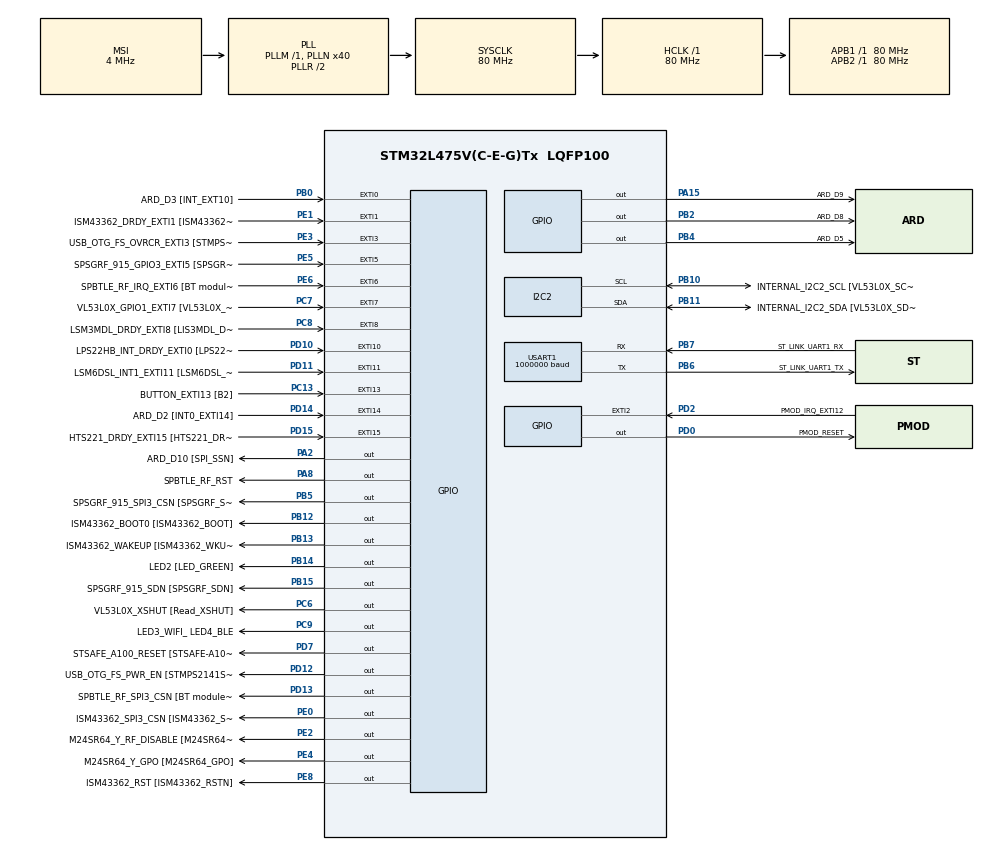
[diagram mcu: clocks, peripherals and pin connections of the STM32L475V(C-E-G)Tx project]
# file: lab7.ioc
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I2C2.Timing=0x10D19CE4
Mcu.Family=STM32L4
Mcu.Name=STM32L475V(C-E-G)Tx
Mcu.Package=LQFP100
NVIC.EXTI15_10_IRQn=true\:0\:0\:false\:false\:true\:true\:true\:true
NVIC.EXTI9_5_IRQn=true\:0\:0\:false\:false\:true\:true\:true\:true
NVIC.PriorityGroup=NVIC_PRIORITYGROUP_4
PA0.GPIO_Label=ARD_D1 [UART4_TX]
PA0.Signal=UART4_TX
PA1.GPIO_Label=ARD_D0 [UART4_RX]
PA1.Signal=UART4_RX
PA10.GPIO_Label=USB_OTG_FS_ID
PA10.Signal=USB_OTG_FS_ID
PA11.GPIO_Label=USB_OTG_FS_DM
PA11.Signal=USB_OTG_FS_DM
PA12.GPIO_Label=USB_OTG_FS_DP
PA12.Signal=USB_OTG_FS_DP
PA13\ (JTMS-SWDIO).GPIO_Label=SYS_JTMS_SWDIO
PA13\ (JTMS-SWDIO).Signal=SYS_JTMS-SWDIO
PA14\ (JTCK-SWCLK).GPIO_Label=SYS_JTCK_SWCLK
PA14\ (JTCK-SWCLK).Signal=SYS_JTCK-SWCLK
PA15\ (JTDI).GPIO_Label=ARD_D9
PA15\ (JTDI).Signal=GPIO_Output
PA2.GPIO_Label=ARD_D10 [SPI_SSN]
PA2.Signal=GPIO_Output
PA3.GPIO_Label=ARD_D4
PA3.Signal=S_TIM2_CH4
PA4.GPIO_Label=ARD_D7
PA4.Signal=ADCx_IN9
PA5.GPIO_Label=ARD_D13 [SPI1_SCK]
PA5.Signal=SPI1_SCK
PA6.GPIO_Label=ARD_D12 [SPI1_MISO]
PA6.Signal=SPI1_MISO
PA7.GPIO_Label=ARD_D11 [SPI1_MOSI]
PA7.Signal=SPI1_MOSI
PA8.GPIO_Label=SPBTLE_RF_RST
PA8.Signal=GPIO_Output
PA9.GPIO_Label=USB_OTG_FS_VBUS [STMPS2141STR_OUT]
PA9.Signal=USB_OTG_FS_VBUS
PB0.GPIO_Label=ARD_D3 [INT_EXT10]
PB0.Signal=GPXTI0
PB1.GPIO_Label=ARD_D6 [ADC1_IN6]
PB1.Signal=ADCx_IN16
PB10.GPIO_Label=INTERNAL_I2C2_SCL [VL53L0X_SCL]
PB10.Mode=I2C
PB10.Signal=I2C2_SCL
PB11.GPIO_Label=INTERNAL_I2C2_SDA [VL53L0X_SDA]
PB11.Mode=I2C
PB11.Signal=I2C2_SDA
PB12.GPIO_Label=ISM43362_BOOT0 [ISM43362_BOOT]
PB12.Signal=GPIO_Output
PB13.GPIO_Label=ISM43362_WAKEUP [ISM43362_WKUP]
PB13.Signal=GPIO_Output
PB14.GPIO_Label=LED2 [LED_GREEN]
PB14.Signal=GPIO_Output
PB15.GPIO_Label=SPSGRF_915_SDN [SPSGRF_SDN]
PB15.Signal=GPIO_Output
PB2.GPIO_Label=ARD_D8
PB2.Signal=GPIO_Output
PB3\ (JTDO-TRACESWO).GPIO_Label=SYS_JTD0_SWO
PB3\ (JTDO-TRACESWO).Signal=SYS_JTDO-SWO
PB4\ (NJTRST).GPIO_Label=ARD_D5
PB4\ (NJTRST).Signal=GPIO_Output
PB5.GPIO_Label=SPSGRF_915_SPI3_CSN [SPSGRF_SPI_CS]
PB5.PinState=GPIO_PIN_SET
PB5.Signal=GPIO_Output
PB6.GPIO_Label=ST_LINK_UART1_TX
PB6.Mode=Asynchronous
PB6.Signal=USART1_TX
PB7.GPIO_Label=ST_LINK_UART1_RX
PB7.Mode=Asynchronous
PB7.Signal=USART1_RX
PB8.GPIO_Label=ARD_D15 [I2C1_SCL]
PB8.Signal=I2C1_SCL
PB9.GPIO_Label=ARD_D14 [I2C1_SDA]
PB9.Signal=I2C1_SDA
PC0.GPIO_Label=ARD_A5 [ADC]
PC0.Signal=ADCx_IN1
PC1.GPIO_Label=ARD_A4 [ADC]
PC1.Signal=ADCx_IN2
PC10.GPIO_Label=INTERNAL_SPI3_SCK [BT module_SPI_SCLK] [ISM43362_SCK]
PC10.Signal=SPI3_SCK
PC11.GPIO_Label=INTERNAL_SPI3_MISO [BT module_SPI_MISO] [ISM43362_MISO]
PC11.Signal=SPI3_MISO
PC12.GPIO_Label=INTERNAL_SPI3_MOSI [BT module_SPI_MOSI] [ISM43362_MOSI]
PC12.Signal=SPI3_MOSI
PC13.GPIO_Label=BUTTON_EXTI13 [B2]
PC13.GPIO_ModeDefaultEXTI=GPIO_MODE_IT_FALLING
PC13.Signal=GPXTI13
PC14-OSC32_IN\ (PC14).Signal=RCC_OSC32_IN
PC15-OSC32_OUT\ (PC15).Signal=RCC_OSC32_OUT
PC2.GPIO_Label=ARD_A3 [ADC]
PC2.Signal=ADCx_IN3
PC3.GPIO_Label=ARD_A2 [ADC]
PC3.Signal=ADCx_IN4
PC4.GPIO_Label=ARD_A1 [ADC]
PC4.Signal=ADCx_IN13
PC5.GPIO_Label=ARD_A0 [ADC]
PC5.Signal=ADCx_IN14
PC6.GPIO_Label=VL53L0X_XSHUT [Read_XSHUT]
PC6.Signal=GPIO_Output
PC7.GPIO_Label=VL53L0X_GPIO1_EXTI7 [VL53L0X_GPIO1]
PC7.Signal=GPXTI7
PC8.GPIO_Label=LSM3MDL_DRDY_EXTI8 [LIS3MDL_DRDY]
PC8.Signal=GPXTI8
PC9.GPIO_Label=LED3_WIFI_ LED4_BLE
PC9.Signal=GPIO_Output
PD0.GPIO_Label=PMOD_RESET
PD0.Signal=GPIO_Output
PD1.GPIO_Label=PMOD_SPI2_SCK
PD1.Signal=SPI2_SCK
PD10.GPIO_Label=LPS22HB_INT_DRDY_EXTI0 [LPS22HB_INT_DRDY] 
PD10.Signal=GPXTI10
PD11.GPIO_Label=LSM6DSL_INT1_EXTI11 [LSM6DSL_INT1]
PD11.Signal=GPXTI11
PD12.GPIO_Label=USB_OTG_FS_PWR_EN [STMPS2141STR_EN]
PD12.Signal=GPIO_Output
PD13.GPIO_Label=SPBTLE_RF_SPI3_CSN [BT module_SPI_CS]
PD13.PinState=GPIO_PIN_SET
PD13.Signal=GPIO_Output
PD14.GPIO_Label=ARD_D2 [INT0_EXTI14]
PD14.Signal=GPXTI14
PD15.GPIO_Label=HTS221_DRDY_EXTI15 [HTS221_DRDY]
PD15.Signal=GPXTI15
PD2.GPIO_Label=PMOD_IRQ_EXTI12
PD2.Signal=GPXTI2
PD3.GPIO_Label=PMOD_UART2_CTS
PD3.Signal=USART2_CTS
PD4.GPIO_Label=PMOD_UART2_RTS
PD4.Signal=USART2_RTS
PD5.GPIO_Label=PMOD_UART2_TX
PD5.Signal=USART2_TX
PD6.GPIO_Label=PMOD_UART2_RX
PD6.Signal=USART2_RX
PD7.GPIO_Label=STSAFE_A100_RESET [STSAFE-A100_RESET]
PD7.Signal=GPIO_Output
PD8.GPIO_Label=INTERNAL_UART3_TX [ISM43362_RX]
PD8.Signal=USART3_TX
PD9.GPIO_Label=INTERNAL_UART3_RX [ISM43362_TX]
PD9.Signal=USART3_RX
PE0.GPIO_Label=ISM43362_SPI3_CSN [ISM43362_SSN]
PE0.PinState=GPIO_PIN_SET
PE0.Signal=GPIO_Output
PE1.GPIO_Label=ISM43362_DRDY_EXTI1 [ISM43362_DATARDY]
PE1.Signal=GPXTI1
PE10.GPIO_Label=QUADSPI_CLK [MX25R6435F_SCLK]
PE10.Signal=QUADSPI_CLK
PE11.GPIO_Label=QUADSPI_NCS [MX25R6435F_SCLK]
PE11.Signal=QUADSPI_NCS
PE12.GPIO_Label=OQUADSPI_BK1_IO0 [MX25R6435F_IO0]
PE12.Signal=QUADSPI_BK1_IO0
PE13.GPIO_Label=QUADSPI_BK1_IO1 [MX25R6435F_IO1]
PE13.Signal=QUADSPI_BK1_IO1
PE14.GPIO_Label=QUAD_SPI_BK1_IO2 [MX25R6435F_IO2]
PE14.Signal=QUADSPI_BK1_IO2
PE15.GPIO_Label=QUAD_SPI_BK1_IO3 [MX25R6435F_IO3]
PE15.Signal=QUADSPI_BK1_IO3
PE2.GPIO_Label=M24SR64_Y_RF_DISABLE [M24SR64_RFDIS]
PE2.Signal=GPIO_Output
PE3.GPIO_Label=USB_OTG_FS_OVRCR_EXTI3 [STMPS2141STR_FAULT]
PE3.Signal=GPXTI3
PE4.GPIO_Label=M24SR64_Y_GPO [M24SR64_GPO]
PE4.Signal=GPIO_Output
PE5.GPIO_Label=SPSGRF_915_GPIO3_EXTI5 [SPSGRF_GPIO_3]
PE5.Signal=GPXTI5
PE6.GPIO_Label=SPBTLE_RF_IRQ_EXTI6 [BT module_SPI_IRQ]
PE6.Signal=GPXTI6
PE7.GPIO_Label=DFSDM1_DATIN2 [MP34DT01_DOUT]
PE7.Signal=S_DATAIN2DFSDM1
PE8.GPIO_Label=ISM43362_RST [ISM43362_RSTN]
PE8.Signal=GPIO_Output
PE9.GPIO_Label=DFSDM1_CKOUT [MP34DT01_CLK]
PE9.Signal=S_CKOUTDFSDM1
ProjectManager.HeapSize=0x200
ProjectManager.StackSize=0x400
ProjectManager.TargetToolchain=CMake
RCC.ADCFreq_Value=48000000
RCC.AHBFreq_Value=80000000
RCC.APB1Freq_Value=80000000
RCC.APB1TimFreq_Value=80000000
RCC.APB2Freq_Value=80000000
RCC.APB2TimFreq_Value=80000000
RCC.CortexFreq_Value=80000000
RCC.HCLKFreq_Value=80000000
RCC.HSE_VALUE=8000000
RCC.HSI_VALUE=16000000
RCC.LSE_VALUE=32768
RCC.MSI_VALUE=4000000
RCC.PLLN=40
RCC.PLLSAI1N=24
RCC.SYSCLKFreq_VALUE=80000000
RCC.SYSCLKSource=RCC_SYSCLKSOURCE_PLLCLK
RCC.USBFreq_Value=48000000
RCC.VCOOutputFreq_Value=160000000
SH.ADCx_IN1.0=ADC1_IN1
SH.ADCx_IN13.0=ADC1_IN13
SH.ADCx_IN14.0=ADC1_IN14
SH.ADCx_IN16.0=ADC1_IN16
SH.ADCx_IN2.0=ADC1_IN2
SH.ADCx_IN3.0=ADC1_IN3
SH.ADCx_IN4.0=ADC1_IN4
SH.ADCx_IN9.0=ADC1_IN9
SH.S_CKOUTDFSDM1.0=DFSDM1_CKOUT
SH.S_DATAIN2DFSDM1.0=DFSDM1_DATIN2
SH.S_TIM2_CH4.0=TIM2_CH4
USART1.BaudRate=1000000
USART1.VirtualMode-Asynchronous=VM_ASYNC
board=B-L475E-IOT01A1

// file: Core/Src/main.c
/* USER CODE BEGIN Header */
/**
  ******************************************************************************
  * @file           : main.c
  * @brief          : Main program body
  ******************************************************************************
  * @attention
  *
  * Copyright (c) 2026 STMicroelectronics.
  * All rights reserved.
  *
  * This software is licensed under terms that can be found in the LICENSE file
  * in the root directory of this software component.
  * If no LICENSE file comes with this software, it is provided AS-IS.
  *
  ******************************************************************************
  */
/* USER CODE END Header */
#include "main.h"

/* USER CODE BEGIN Includes */
#include "arm_math.h"
#include "stdio.h"
#include "math_helper.h"
#include "stm32l475e_iot01_accelero.h"
/* USER CODE END Includes */

/* USER CODE BEGIN PD */
#define TEST_LENGTH_SAMPLES  320
#define SNR_THRESHOLD_F32    140.0f
#define BLOCK_SIZE            32
#define NUM_TAPS              29
/* USER CODE END PD */

I2C_HandleTypeDef hi2c2;

UART_HandleTypeDef huart1;

/* USER CODE BEGIN PV */
/* -------------------------------------------------------------------
 * The input signal and reference output (computed with MATLAB)
 * are defined externally in arm_fir_lpf_data.c.
 * ------------------------------------------------------------------- */

extern float32_t testInput_f32_1kHz_15kHz[TEST_LENGTH_SAMPLES];
extern float32_t refOutput[TEST_LENGTH_SAMPLES];

/* -------------------------------------------------------------------
 * Declare Test output buffer
 * ------------------------------------------------------------------- */

static float32_t testOutput[TEST_LENGTH_SAMPLES];

/* -------------------------------------------------------------------
 * Declare State buffer of size (numTaps + blockSize - 1)
 * ------------------------------------------------------------------- */

static float32_t firStateF32[BLOCK_SIZE + NUM_TAPS - 1];

/* ----------------------------------------------------------------------
** FIR Coefficients buffer generated using fir1() MATLAB function.
** fir1(28, 6/24)
** ------------------------------------------------------------------- */

const float32_t firCoeffs32[NUM_TAPS] = {
  -0.0018225230f, -0.0015879294f, +0.0000000000f, +0.0036977508f, +0.0080754303f, +0.0085302217f, -0.0000000000f, -0.0173976984f,
  -0.0341458607f, -0.0333591565f, +0.0000000000f, +0.0676308395f, +0.1522061835f, +0.2229246956f, +0.2504960933f, +0.2229246956f,
  +0.1522061835f, +0.0676308395f, +0.0000000000f, -0.0333591565f, -0.0341458607f, -0.0173976984f, -0.0000000000f, +0.0085302217f,
  +0.0080754303f, +0.0036977508f, +0.0000000000f, -0.0015879294f, -0.0018225230f
};

/* ------------------------------------------------------------------
 * Global variables for FIR LPF Example
 * ------------------------------------------------------------------- */

uint32_t blockSize = BLOCK_SIZE;
uint32_t numBlocks = TEST_LENGTH_SAMPLES/BLOCK_SIZE;

float32_t  snr;

/* Low-pass FIR: 29 taps, cutoff 5 Hz, fs 50 Hz,
   Hamming window. Group delay = 14 samples = 280 ms. */
#define ACC_NUM_TAPS 29
const float32_t accCoeffs[ACC_NUM_TAPS] = {
  +0.0010663996f, +0.0021260857f, +0.0031593379f, +0.0030598462f, -0.0000000000f, -0.0070586601f, -0.0165185932f, -0.0232938560f,
  -0.0199795184f, +0.0000000000f, +0.0385745876f, +0.0905512328f, +0.1441009645f, +0.1844676144f, +0.1994891178f, +0.1844676144f,
  +0.1441009645f, +0.0905512328f, +0.0385745876f, +0.0000000000f, -0.0199795184f, -0.0232938560f, -0.0165185932f, -0.0070586601f,
  -0.0000000000f, +0.0030598462f, +0.0031593379f, +0.0021260857f, +0.0010663996f
};

#define ACC_BLOCK_SIZE 25
// an arm_fir_instance_f32
arm_fir_instance_f32 accFilter;
static float32_t accState[ACC_BLOCK_SIZE + ACC_NUM_TAPS - 1];
static float32_t accIn[ACC_BLOCK_SIZE];
static float32_t accOut[ACC_BLOCK_SIZE];
/* USER CODE END PV */

void SystemClock_Config(void);
static void MX_GPIO_Init(void);
static void MX_I2C2_Init(void);
static void MX_USART1_UART_Init(void);

/* USER CODE BEGIN 0 */
int __io_putchar(int ch)
{
  HAL_UART_Transmit(&huart1, (uint8_t *)&ch, 1, HAL_MAX_DELAY);
  return ch;
}
/* USER CODE END 0 */

int main(void)
{

  /* USER CODE BEGIN 1 */
  uint32_t i;
  arm_fir_instance_f32 S;
  arm_status status;
  float32_t  *inputF32, *outputF32;

  int16_t accel[3];
  /* USER CODE END 1 */

  /* MCU Configuration--------------------------------------------------------*/

  /* Reset of all peripherals, Initializes the Flash interface and the Systick. */
  HAL_Init();

  /* Configure the system clock */
  SystemClock_Config();

  /* Initialize all configured peripherals */
  MX_GPIO_Init();
  MX_I2C2_Init();
  MX_USART1_UART_Init();
  /* USER CODE BEGIN 2 */

  BSP_ACCELERO_Init();

  float32_t test1[1];
  float32_t test2[1];
  float32_t result[1];
  test1[0] = 1.0f;
  test2[0] = 2.75f;
  arm_add_f32(test1, test2, result, 1);
  printf("Result: %f\n", result[0]);
  // printf("Result: %d\n", (int)(result[0]*1000));

  /* Initialize input and output buffer pointers */
  inputF32 = &testInput_f32_1kHz_15kHz[0];
  outputF32 = &testOutput[0];

  /* Call FIR init function to initialize the instance structure. */
  arm_fir_init_f32(&S, NUM_TAPS, (float32_t *)&firCoeffs32[0], &firStateF32[0], blockSize);

  /* ----------------------------------------------------------------------
  ** Call the FIR process function for every blockSize samples
  ** ------------------------------------------------------------------- */

  for(i=0; i < numBlocks; i++)
  {
    arm_fir_f32(&S, inputF32 + (i * blockSize), outputF32 + (i * blockSize), blockSize);
  }

  /* ----------------------------------------------------------------------
  ** Compare the generated output against the reference output computed
  ** in MATLAB.
  ** ------------------------------------------------------------------- */

  snr = arm_snr_f32(&refOutput[0], &testOutput[0], TEST_LENGTH_SAMPLES);

  if (snr < SNR_THRESHOLD_F32)
  {
    status = ARM_MATH_TEST_FAILURE;
  }
  else
  {
    status = ARM_MATH_SUCCESS;
  }

  printf("SNR: %f\n", snr);
  printf("Status: %s\n", (status == ARM_MATH_SUCCESS) ? "Success" : "Failure");
  /*
  BEGIN FIR
  0,<input>,<output>
  1,<input>,<output>
  ...  (all 320 samples)
  END FIR
  */
  printf("BEGIN FIR\n");
  for(i=0; i < TEST_LENGTH_SAMPLES; i++)
  {
    printf("%lu,%f,%f\n", i, inputF32[i], outputF32[i]);
  }
  printf("END FIR\n");

  printf("BEGIN ACC\n");
  arm_fir_init_f32(&accFilter, ACC_NUM_TAPS, (float32_t *)&accCoeffs[0], &accState[0], ACC_BLOCK_SIZE);
  uint32_t next = HAL_GetTick();
  uint32_t k = 0, n = 0;
  /* USER CODE END 2 */

  /* Infinite loop */
  /* USER CODE BEGIN WHILE */

  while (1)
  {
    /*
    // get accelerometer data
    BSP_ACCELERO_AccGetXYZ(accel);
    printf("X accel: %d, Y accel: %d, Z accel: %d\n", accel[0], accel[1], accel[2]);
    */
    if ((int32_t)(HAL_GetTick() - next) >= 0) {
      next += 20;              // ← add to the deadline, don't use "now + 20", so the rate doesn't drift
      // read XYZ, store (float32_t)accel[2] in accIn[k], k++
      BSP_ACCELERO_AccGetXYZ(accel);
      accIn[k] = (float32_t)accel[2];
      k++;
      if (k == ACC_BLOCK_SIZE)
      {
        arm_fir_f32(&accFilter, accIn, accOut, ACC_BLOCK_SIZE);
        // print the block, then k = 0
        for ( int j = 0; j < ACC_BLOCK_SIZE; j++) {
          printf("%lu,%f,%f\n", n++, accIn[j], accOut[j]);
        }
        k = 0;
      }
    }
    /* USER CODE END WHILE */

  }
}

void SystemClock_Config(void)
{
  RCC_OscInitTypeDef RCC_OscInitStruct = {0};
  RCC_ClkInitTypeDef RCC_ClkInitStruct = {0};

  /** Configure the main internal regulator output voltage
  */
  if (HAL_PWREx_ControlVoltageScaling(PWR_REGULATOR_VOLTAGE_SCALE1) != HAL_OK)
  {
    Error_Handler();
  }

  /** Initializes the RCC Oscillators according to the specified parameters
  * in the RCC_OscInitTypeDef structure.
  */
  RCC_OscInitStruct.OscillatorType = RCC_OSCILLATORTYPE_MSI;
  RCC_OscInitStruct.MSIState = RCC_MSI_ON;
  RCC_OscInitStruct.MSICalibrationValue = 0;
  RCC_OscInitStruct.MSIClockRange = RCC_MSIRANGE_6;
  RCC_OscInitStruct.PLL.PLLState = RCC_PLL_ON;
  RCC_OscInitStruct.PLL.PLLSource = RCC_PLLSOURCE_MSI;
  RCC_OscInitStruct.PLL.PLLM = 1;
  RCC_OscInitStruct.PLL.PLLN = 40;
  RCC_OscInitStruct.PLL.PLLP = RCC_PLLP_DIV7;
  RCC_OscInitStruct.PLL.PLLQ = RCC_PLLQ_DIV2;
  RCC_OscInitStruct.PLL.PLLR = RCC_PLLR_DIV2;
  if (HAL_RCC_OscConfig(&RCC_OscInitStruct) != HAL_OK)
  {
    Error_Handler();
  }

  /** Initializes the CPU, AHB and APB buses clocks
  */
  RCC_ClkInitStruct.ClockType = RCC_CLOCKTYPE_HCLK|RCC_CLOCKTYPE_SYSCLK
                              |RCC_CLOCKTYPE_PCLK1|RCC_CLOCKTYPE_PCLK2;
  RCC_ClkInitStruct.SYSCLKSource = RCC_SYSCLKSOURCE_PLLCLK;
  RCC_ClkInitStruct.AHBCLKDivider = RCC_SYSCLK_DIV1;
  RCC_ClkInitStruct.APB1CLKDivider = RCC_HCLK_DIV1;
  RCC_ClkInitStruct.APB2CLKDivider = RCC_HCLK_DIV1;

  if (HAL_RCC_ClockConfig(&RCC_ClkInitStruct, FLASH_LATENCY_4) != HAL_OK)
  {
    Error_Handler();
  }
}

static void MX_I2C2_Init(void)
{

  hi2c2.Instance = I2C2;
  hi2c2.Init.Timing = 0x10D19CE4;
  hi2c2.Init.OwnAddress1 = 0;
  hi2c2.Init.AddressingMode = I2C_ADDRESSINGMODE_7BIT;
  hi2c2.Init.DualAddressMode = I2C_DUALADDRESS_DISABLE;
  hi2c2.Init.OwnAddress2 = 0;
  hi2c2.Init.OwnAddress2Masks = I2C_OA2_NOMASK;
  hi2c2.Init.GeneralCallMode = I2C_GENERALCALL_DISABLE;
  hi2c2.Init.NoStretchMode = I2C_NOSTRETCH_DISABLE;
  if (HAL_I2C_Init(&hi2c2) != HAL_OK)
  {
    Error_Handler();
  }

  /** Configure Analogue filter
  */
  if (HAL_I2CEx_ConfigAnalogFilter(&hi2c2, I2C_ANALOGFILTER_ENABLE) != HAL_OK)
  {
    Error_Handler();
  }

  /** Configure Digital filter
  */
  if (HAL_I2CEx_ConfigDigitalFilter(&hi2c2, 0) != HAL_OK)
  {
    Error_Handler();
  }

}

static void MX_USART1_UART_Init(void)
{

  huart1.Instance = USART1;
  huart1.Init.BaudRate = 1000000;
  huart1.Init.WordLength = UART_WORDLENGTH_8B;
  huart1.Init.StopBits = UART_STOPBITS_1;
  huart1.Init.Parity = UART_PARITY_NONE;
  huart1.Init.Mode = UART_MODE_TX_RX;
  huart1.Init.HwFlowCtl = UART_HWCONTROL_NONE;
  huart1.Init.OverSampling = UART_OVERSAMPLING_16;
  huart1.Init.OneBitSampling = UART_ONE_BIT_SAMPLE_DISABLE;
  huart1.AdvancedInit.AdvFeatureInit = UART_ADVFEATURE_NO_INIT;
  if (HAL_UART_Init(&huart1) != HAL_OK)
  {
    Error_Handler();
  }

}

static void MX_GPIO_Init(void)
{
  GPIO_InitTypeDef GPIO_InitStruct = {0};

  /* GPIO Ports Clock Enable */
  __HAL_RCC_GPIOE_CLK_ENABLE();
  __HAL_RCC_GPIOC_CLK_ENABLE();
  __HAL_RCC_GPIOA_CLK_ENABLE();
  __HAL_RCC_GPIOB_CLK_ENABLE();
  __HAL_RCC_GPIOD_CLK_ENABLE();

  /*Configure GPIO pin Output Level */
  HAL_GPIO_WritePin(GPIOE, M24SR64_Y_RF_DISABLE_Pin|M24SR64_Y_GPO_Pin|ISM43362_RST_Pin, GPIO_PIN_RESET);

  /*Configure GPIO pin Output Level */
  HAL_GPIO_WritePin(GPIOA, ARD_D10_Pin|SPBTLE_RF_RST_Pin|ARD_D9_Pin, GPIO_PIN_RESET);

  /*Configure GPIO pin Output Level */
  HAL_GPIO_WritePin(GPIOB, ARD_D8_Pin|ISM43362_BOOT0_Pin|ISM43362_WAKEUP_Pin|LED2_Pin
                          |SPSGRF_915_SDN_Pin|ARD_D5_Pin, GPIO_PIN_RESET);

  /*Configure GPIO pin Output Level */
  HAL_GPIO_WritePin(GPIOD, USB_OTG_FS_PWR_EN_Pin|PMOD_RESET_Pin|STSAFE_A100_RESET_Pin, GPIO_PIN_RESET);

  /*Configure GPIO pin Output Level */
  HAL_GPIO_WritePin(SPBTLE_RF_SPI3_CSN_GPIO_Port, SPBTLE_RF_SPI3_CSN_Pin, GPIO_PIN_SET);

  /*Configure GPIO pin Output Level */
  HAL_GPIO_WritePin(GPIOC, VL53L0X_XSHUT_Pin|LED3_WIFI__LED4_BLE_Pin, GPIO_PIN_RESET);

  /*Configure GPIO pin Output Level */
  HAL_GPIO_WritePin(SPSGRF_915_SPI3_CSN_GPIO_Port, SPSGRF_915_SPI3_CSN_Pin, GPIO_PIN_SET);

  /*Configure GPIO pin Output Level */
  HAL_GPIO_WritePin(ISM43362_SPI3_CSN_GPIO_Port, ISM43362_SPI3_CSN_Pin, GPIO_PIN_SET);

  /*Configure GPIO pins : M24SR64_Y_RF_DISABLE_Pin M24SR64_Y_GPO_Pin ISM43362_RST_Pin ISM43362_SPI3_CSN_Pin */
  GPIO_InitStruct.Pin = M24SR64_Y_RF_DISABLE_Pin|M24SR64_Y_GPO_Pin|ISM43362_RST_Pin|ISM43362_SPI3_CSN_Pin;
  GPIO_InitStruct.Mode = GPIO_MODE_OUTPUT_PP;
  GPIO_InitStruct.Pull = GPIO_NOPULL;
  GPIO_InitStruct.Speed = GPIO_SPEED_FREQ_LOW;
  HAL_GPIO_Init(GPIOE, &GPIO_InitStruct);

  /*Configure GPIO pins : USB_OTG_FS_OVRCR_EXTI3_Pin SPSGRF_915_GPIO3_EXTI5_Pin SPBTLE_RF_IRQ_EXTI6_Pin ISM43362_DRDY_EXTI1_Pin */
  GPIO_InitStruct.Pin = USB_OTG_FS_OVRCR_EXTI3_Pin|SPSGRF_915_GPIO3_EXTI5_Pin|SPBTLE_RF_IRQ_EXTI6_Pin|ISM43362_DRDY_EXTI1_Pin;
  GPIO_InitStruct.Mode = GPIO_MODE_IT_RISING;
  GPIO_InitStruct.Pull = GPIO_NOPULL;
  HAL_GPIO_Init(GPIOE, &GPIO_InitStruct);

  /*Configure GPIO pin : BUTTON_EXTI13_Pin */
  GPIO_InitStruct.Pin = BUTTON_EXTI13_Pin;
  GPIO_InitStruct.Mode = GPIO_MODE_IT_FALLING;
  GPIO_InitStruct.Pull = GPIO_NOPULL;
  HAL_GPIO_Init(BUTTON_EXTI13_GPIO_Port, &GPIO_InitStruct);

  /*Configure GPIO pins : ARD_A5_Pin ARD_A4_Pin ARD_A3_Pin ARD_A2_Pin
                           ARD_A1_Pin ARD_A0_Pin */
  GPIO_InitStruct.Pin = ARD_A5_Pin|ARD_A4_Pin|ARD_A3_Pin|ARD_A2_Pin
                          |ARD_A1_Pin|ARD_A0_Pin;
  GPIO_InitStruct.Mode = GPIO_MODE_ANALOG_ADC_CONTROL;
  GPIO_InitStruct.Pull = GPIO_NOPULL;
  HAL_GPIO_Init(GPIOC, &GPIO_InitStruct);

  /*Configure GPIO pins : ARD_D1_Pin ARD_D0_Pin */
  GPIO_InitStruct.Pin = ARD_D1_Pin|ARD_D0_Pin;
  GPIO_InitStruct.Mode = GPIO_MODE_AF_PP;
  GPIO_InitStruct.Pull = GPIO_NOPULL;
  GPIO_InitStruct.Speed = GPIO_SPEED_FREQ_VERY_HIGH;
  GPIO_InitStruct.Alternate = GPIO_AF8_UART4;
  HAL_GPIO_Init(GPIOA, &GPIO_InitStruct);

  /*Configure GPIO pins : ARD_D10_Pin SPBTLE_RF_RST_Pin ARD_D9_Pin */
  GPIO_InitStruct.Pin = ARD_D10_Pin|SPBTLE_RF_RST_Pin|ARD_D9_Pin;
  GPIO_InitStruct.Mode = GPIO_MODE_OUTPUT_PP;
  GPIO_InitStruct.Pull = GPIO_NOPULL;
  GPIO_InitStruct.Speed = GPIO_SPEED_FREQ_LOW;
  HAL_GPIO_Init(GPIOA, &GPIO_InitStruct);

  /*Configure GPIO pin : ARD_D4_Pin */
  GPIO_InitStruct.Pin = ARD_D4_Pin;
  GPIO_InitStruct.Mode = GPIO_MODE_AF_PP;
  GPIO_InitStruct.Pull = GPIO_NOPULL;
  GPIO_InitStruct.Speed = GPIO_SPEED_FREQ_LOW;
  GPIO_InitStruct.Alternate = GPIO_AF1_TIM2;
  HAL_GPIO_Init(ARD_D4_GPIO_Port, &GPIO_InitStruct);

  /*Configure GPIO pin : ARD_D7_Pin */
  GPIO_InitStruct.Pin = ARD_D7_Pin;
  GPIO_InitStruct.Mode = GPIO_MODE_ANALOG_ADC_CONTROL;
  GPIO_InitStruct.Pull = GPIO_NOPULL;
  HAL_GPIO_Init(ARD_D7_GPIO_Port, &GPIO_InitStruct);

  /*Configure GPIO pins : ARD_D13_Pin ARD_D12_Pin ARD_D11_Pin */
  GPIO_InitStruct.Pin = ARD_D13_Pin|ARD_D12_Pin|ARD_D11_Pin;
  GPIO_InitStruct.Mode = GPIO_MODE_AF_PP;
  GPIO_InitStruct.Pull = GPIO_NOPULL;
  GPIO_InitStruct.Speed = GPIO_SPEED_FREQ_VERY_HIGH;
  GPIO_InitStruct.Alternate = GPIO_AF5_SPI1;
  HAL_GPIO_Init(GPIOA, &GPIO_InitStruct);

  /*Configure GPIO pin : ARD_D3_Pin */
  GPIO_InitStruct.Pin = ARD_D3_Pin;
  GPIO_InitStruct.Mode = GPIO_MODE_IT_RISING;
  GPIO_InitStruct.Pull = GPIO_NOPULL;
  HAL_GPIO_Init(ARD_D3_GPIO_Port, &GPIO_InitStruct);

  /*Configure GPIO pin : ARD_D6_Pin */
  GPIO_InitStruct.Pin = ARD_D6_Pin;
  GPIO_InitStruct.Mode = GPIO_MODE_ANALOG_ADC_CONTROL;
  GPIO_InitStruct.Pull = GPIO_NOPULL;
  HAL_GPIO_Init(ARD_D6_GPIO_Port, &GPIO_InitStruct);

  /*Configure GPIO pins : ARD_D8_Pin ISM43362_BOOT0_Pin ISM43362_WAKEUP_Pin LED2_Pin
                           SPSGRF_915_SDN_Pin ARD_D5_Pin SPSGRF_915_SPI3_CSN_Pin */
  GPIO_InitStruct.Pin = ARD_D8_Pin|ISM43362_BOOT0_Pin|ISM43362_WAKEUP_Pin|LED2_Pin
                          |SPSGRF_915_SDN_Pin|ARD_D5_Pin|SPSGRF_915_SPI3_CSN_Pin;
  GPIO_InitStruct.Mode = GPIO_MODE_OUTPUT_PP;
  GPIO_InitStruct.Pull = GPIO_NOPULL;
  GPIO_InitStruct.Speed = GPIO_SPEED_FREQ_LOW;
  HAL_GPIO_Init(GPIOB, &GPIO_InitStruct);

  /*Configure GPIO pins : DFSDM1_DATIN2_Pin DFSDM1_CKOUT_Pin */
  GPIO_InitStruct.Pin = DFSDM1_DATIN2_Pin|DFSDM1_CKOUT_Pin;
  GPIO_InitStruct.Mode = GPIO_MODE_AF_PP;
  GPIO_InitStruct.Pull = GPIO_NOPULL;
  GPIO_InitStruct.Speed = GPIO_SPEED_FREQ_LOW;
  GPIO_InitStruct.Alternate = GPIO_AF6_DFSDM1;
  HAL_GPIO_Init(GPIOE, &GPIO_InitStruct);

  /*Configure GPIO pins : QUADSPI_CLK_Pin QUADSPI_NCS_Pin OQUADSPI_BK1_IO0_Pin QUADSPI_BK1_IO1_Pin
                           QUAD_SPI_BK1_IO2_Pin QUAD_SPI_BK1_IO3_Pin */
  GPIO_InitStruct.Pin = QUADSPI_CLK_Pin|QUADSPI_NCS_Pin|OQUADSPI_BK1_IO0_Pin|QUADSPI_BK1_IO1_Pin
                          |QUAD_SPI_BK1_IO2_Pin|QUAD_SPI_BK1_IO3_Pin;
  GPIO_InitStruct.Mode = GPIO_MODE_AF_PP;
  GPIO_InitStruct.Pull = GPIO_NOPULL;
  GPIO_InitStruct.Speed = GPIO_SPEED_FREQ_VERY_HIGH;
  GPIO_InitStruct.Alternate = GPIO_AF10_QUADSPI;
  HAL_GPIO_Init(GPIOE, &GPIO_InitStruct);

  /*Configure GPIO pins : INTERNAL_UART3_TX_Pin INTERNAL_UART3_RX_Pin */
  GPIO_InitStruct.Pin = INTERNAL_UART3_TX_Pin|INTERNAL_UART3_RX_Pin;
  GPIO_InitStruct.Mode = GPIO_MODE_AF_PP;
  GPIO_InitStruct.Pull = GPIO_NOPULL;
  GPIO_InitStruct.Speed = GPIO_SPEED_FREQ_VERY_HIGH;
  GPIO_InitStruct.Alternate = GPIO_AF7_USART3;
  HAL_GPIO_Init(GPIOD, &GPIO_InitStruct);

  /*Configure GPIO pins : LPS22HB_INT_DRDY_EXTI0_Pin LSM6DSL_INT1_EXTI11_Pin ARD_D2_Pin HTS221_DRDY_EXTI15_Pin
                           PMOD_IRQ_EXTI12_Pin */
  GPIO_InitStruct.Pin = LPS22HB_INT_DRDY_EXTI0_Pin|LSM6DSL_INT1_EXTI11_Pin|ARD_D2_Pin|HTS221_DRDY_EXTI15_Pin
                          |PMOD_IRQ_EXTI12_Pin;
  GPIO_InitStruct.Mode = GPIO_MODE_IT_RISING;
  GPIO_InitStruct.Pull = GPIO_NOPULL;
  HAL_GPIO_Init(GPIOD, &GPIO_InitStruct);

  /*Configure GPIO pins : USB_OTG_FS_PWR_EN_Pin SPBTLE_RF_SPI3_CSN_Pin PMOD_RESET_Pin STSAFE_A100_RESET_Pin */
  GPIO_InitStruct.Pin = USB_OTG_FS_PWR_EN_Pin|SPBTLE_RF_SPI3_CSN_Pin|PMOD_RESET_Pin|STSAFE_A100_RESET_Pin;
  GPIO_InitStruct.Mode = GPIO_MODE_OUTPUT_PP;
  GPIO_InitStruct.Pull = GPIO_NOPULL;
  GPIO_InitStruct.Speed = GPIO_SPEED_FREQ_LOW;
  HAL_GPIO_Init(GPIOD, &GPIO_InitStruct);

  /*Configure GPIO pins : VL53L0X_XSHUT_Pin LED3_WIFI__LED4_BLE_Pin */
  GPIO_InitStruct.Pin = VL53L0X_XSHUT_Pin|LED3_WIFI__LED4_BLE_Pin;
  GPIO_InitStruct.Mode = GPIO_MODE_OUTPUT_PP;
  GPIO_InitStruct.Pull = GPIO_NOPULL;
  GPIO_InitStruct.Speed = GPIO_SPEED_FREQ_LOW;
  HAL_GPIO_Init(GPIOC, &GPIO_InitStruct);

  /*Configure GPIO pins : VL53L0X_GPIO1_EXTI7_Pin LSM3MDL_DRDY_EXTI8_Pin */
  GPIO_InitStruct.Pin = VL53L0X_GPIO1_EXTI7_Pin|LSM3MDL_DRDY_EXTI8_Pin;
  GPIO_InitStruct.Mode = GPIO_MODE_IT_RISING;
  GPIO_InitStruct.Pull = GPIO_NOPULL;
  HAL_GPIO_Init(GPIOC, &GPIO_InitStruct);

  /*Configure GPIO pin : USB_OTG_FS_VBUS_Pin */
  GPIO_InitStruct.Pin = USB_OTG_FS_VBUS_Pin;
  GPIO_InitStruct.Mode = GPIO_MODE_INPUT;
  GPIO_InitStruct.Pull = GPIO_NOPULL;
  HAL_GPIO_Init(USB_OTG_FS_VBUS_GPIO_Port, &GPIO_InitStruct);

  /*Configure GPIO pins : USB_OTG_FS_ID_Pin USB_OTG_FS_DM_Pin USB_OTG_FS_DP_Pin */
  GPIO_InitStruct.Pin = USB_OTG_FS_ID_Pin|USB_OTG_FS_DM_Pin|USB_OTG_FS_DP_Pin;
  GPIO_InitStruct.Mode = GPIO_MODE_AF_PP;
  GPIO_InitStruct.Pull = GPIO_NOPULL;
  GPIO_InitStruct.Speed = GPIO_SPEED_FREQ_VERY_HIGH;
  GPIO_InitStruct.Alternate = GPIO_AF10_OTG_FS;
  HAL_GPIO_Init(GPIOA, &GPIO_InitStruct);

  /*Configure GPIO pins : INTERNAL_SPI3_SCK_Pin INTERNAL_SPI3_MISO_Pin INTERNAL_SPI3_MOSI_Pin */
  GPIO_InitStruct.Pin = INTERNAL_SPI3_SCK_Pin|INTERNAL_SPI3_MISO_Pin|INTERNAL_SPI3_MOSI_Pin;
  GPIO_InitStruct.Mode = GPIO_MODE_AF_PP;
  GPIO_InitStruct.Pull = GPIO_NOPULL;
  GPIO_InitStruct.Speed = GPIO_SPEED_FREQ_VERY_HIGH;
  GPIO_InitStruct.Alternate = GPIO_AF6_SPI3;
  HAL_GPIO_Init(GPIOC, &GPIO_InitStruct);

  /*Configure GPIO pin : PMOD_SPI2_SCK_Pin */
  GPIO_InitStruct.Pin = PMOD_SPI2_SCK_Pin;
  GPIO_InitStruct.Mode = GPIO_MODE_AF_PP;
  GPIO_InitStruct.Pull = GPIO_NOPULL;
  GPIO_InitStruct.Speed = GPIO_SPEED_FREQ_VERY_HIGH;
  GPIO_InitStruct.Alternate = GPIO_AF5_SPI2;
  HAL_GPIO_Init(PMOD_SPI2_SCK_GPIO_Port, &GPIO_InitStruct);

  /*Configure GPIO pins : PMOD_UART2_CTS_Pin PMOD_UART2_RTS_Pin PMOD_UART2_TX_Pin PMOD_UART2_RX_Pin */
  GPIO_InitStruct.Pin = PMOD_UART2_CTS_Pin|PMOD_UART2_RTS_Pin|PMOD_UART2_TX_Pin|PMOD_UART2_RX_Pin;
  GPIO_InitStruct.Mode = GPIO_MODE_AF_PP;
  GPIO_InitStruct.Pull = GPIO_NOPULL;
  GPIO_InitStruct.Speed = GPIO_SPEED_FREQ_VERY_HIGH;
  GPIO_InitStruct.Alternate = GPIO_AF7_USART2;
  HAL_GPIO_Init(GPIOD, &GPIO_InitStruct);

  /*Configure GPIO pins : ARD_D15_Pin ARD_D14_Pin */
  GPIO_InitStruct.Pin = ARD_D15_Pin|ARD_D14_Pin;
  GPIO_InitStruct.Mode = GPIO_MODE_AF_OD;
  GPIO_InitStruct.Pull = GPIO_NOPULL;
  GPIO_InitStruct.Speed = GPIO_SPEED_FREQ_VERY_HIGH;
  GPIO_InitStruct.Alternate = GPIO_AF4_I2C1;
  HAL_GPIO_Init(GPIOB, &GPIO_InitStruct);

  /* EXTI interrupt init*/
  HAL_NVIC_SetPriority(EXTI9_5_IRQn, 0, 0);
  HAL_NVIC_EnableIRQ(EXTI9_5_IRQn);

  HAL_NVIC_SetPriority(EXTI15_10_IRQn, 0, 0);
  HAL_NVIC_EnableIRQ(EXTI15_10_IRQn);

}

void Error_Handler(void)
{
  __disable_irq();
  while (1)
  {
  }
}
